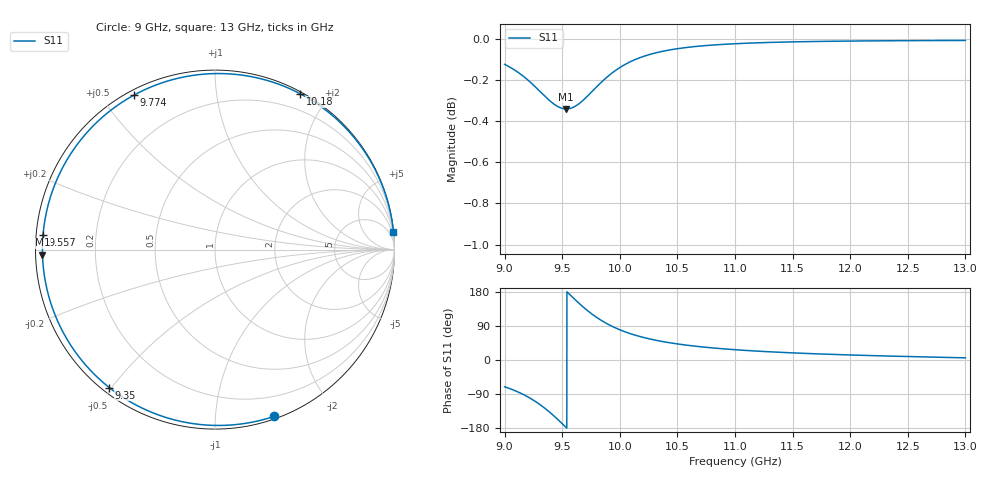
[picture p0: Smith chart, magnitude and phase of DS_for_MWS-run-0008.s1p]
! TOUCHSTONE file generated by CST DESIGN STUDIO
! Date and time: Tue Feb  4 13:45:17 2025
! Project name: C:\Work\MatlabApps\UnitCellOptimizationMatlab\CST\unitcell.cst
! Tree item: Tasks\Sweep1\SPara1\S-Parameters
! Header version: 2024
! Port assignment regex: !\s*Touchstone port\s*([0-9]+)\s*=\s*(CST MWS port|CST DES external port|CST DES block port)\s*(.+)\s* \(\"(.*)\"\)(\s*mode\s*([0-9]+))?.*
! Touchstone port assignment:
! Touchstone port 1 = CST DES external port 1 ("")
# GHz S MA R 50
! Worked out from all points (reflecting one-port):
!   4001 points, 9 GHz to 13 GHz, reference 50 ohm
!   lowest |S11| = -0.3 dB at 9.535 GHz (marker M1), VSWR 51.00, Z = 0.981 - j0.75 ohm
!   phase of S11 starts at -71 deg and turns -284 deg over the sweep
!   S11 on the Smith chart (normalised r, x): 9 GHz: 0.02, -1.41; 9.35 GHz: 0.02, -0.49; 9.557 GHz: 0.02, +0.04; 9.774 GHz: 0.02, +0.60; 10.18 GHz: 0.02, +1.69; 13 GHz: 0, +20
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9  0.9858 -70.6
9.098  0.9822 -81.9
9.206  0.977 -98.1
9.282  0.9726 -112.3
9.35  0.9684 -127.5
9.421  0.9645 -145.6
9.462  0.9628 -157.0
9.5  0.9618 -168.0
9.535  0.9615 -178.3
9.557  0.9617 175.2
9.611  0.9629 159.4
9.672  0.9657 142.5
9.723  0.9687 129.5
9.774  0.9719 117.7
9.822  0.975 107.8
9.874  0.978 98.3
9.932  0.981 89.0
10  0.9841 79.7
10.087  0.9871 69.9
10.182  0.9897 61.3
10.327  0.9924 51.2
10.5  0.9945 42.4
10.721  0.9961 34.3
11  0.9973 27.1
11.5  0.9983 18.8
12  0.9988 13.2
12.5  0.999 9.1
13  0.9991 5.8
